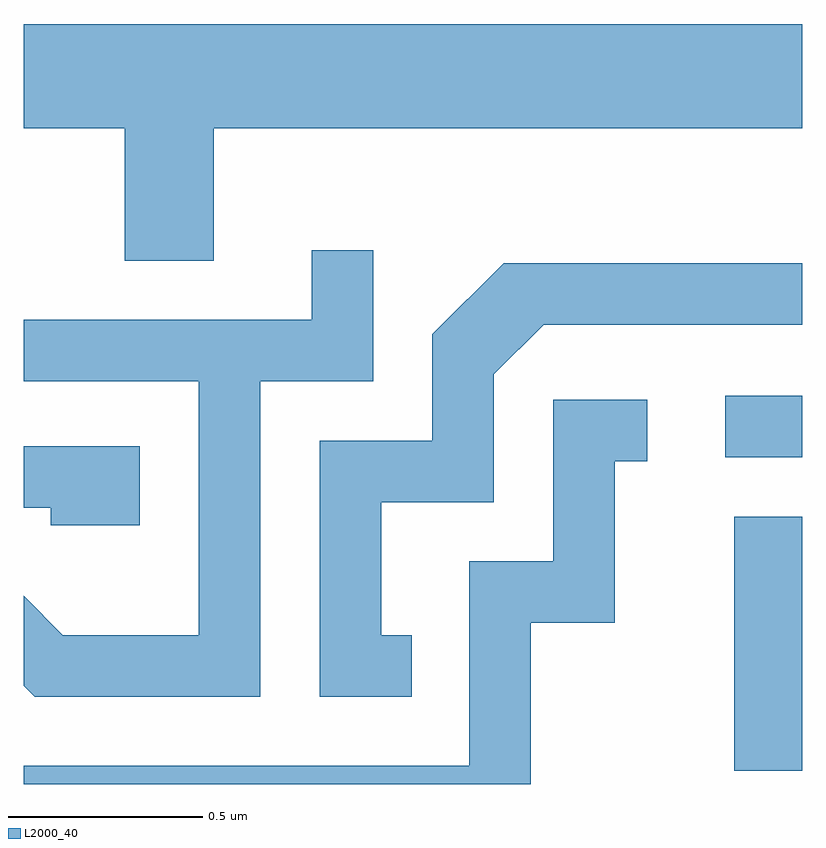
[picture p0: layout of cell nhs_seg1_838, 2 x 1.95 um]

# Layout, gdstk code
import gdstk
lib = gdstk.Library(unit=1e-6, precision=1e-09)
def R(c, l, rs):  # rectangles x0, y0, x1, y1
    for r in rs: c.add(gdstk.rectangle(r[:2], r[2:], *l))
def P(c, l, *ps):  # polygons
    for p in ps: c.add(gdstk.Polygon(p, *l))
L2000_40 = (2000, 40)

nhs_seg1_838 = lib.new_cell('nhs_seg1_838')
R(nhs_seg1_838, L2000_40, [(193.436,855.746,193.611,856.399), (193.413,856.551,193.611,856.709)])
P(nhs_seg1_838, L2000_40, [(192.099,857.396),(193.611,857.396),(193.611,857.664),(191.611,857.664),(191.611,857.396),(191.871,857.396),(191.871,857.056),(192.099,857.056)],
  [(192.219,856.746),(192.509,856.746),(192.509,857.083),(192.351,857.083),(192.351,856.904),(191.611,856.904),(191.611,856.746),(192.061,856.746),(192.061,856.094),(191.712,856.094),(191.611,856.195),(191.611,855.964),(191.639,855.936),(192.219,855.936)],
  [(192.608,856.094),(192.529,856.094),(192.529,856.436),(192.819,856.436),(192.819,856.764),(192.947,856.891),(193.611,856.891),(193.611,857.049),(192.844,857.049),(192.661,856.867),(192.661,856.594),(192.371,856.594),(192.371,855.936),(192.608,855.936)],
  [(192.914,856.126),(193.129,856.126),(193.129,856.541),(193.213,856.541),(193.213,856.699),(192.971,856.699),(192.971,856.284),(192.756,856.284),(192.756,855.759),(191.611,855.759),(191.611,855.712),(192.914,855.712)],
  [(191.909,856.579),(191.611,856.579),(191.611,856.421),(191.681,856.421),(191.681,856.376),(191.909,856.376)])

lib.write_gds('nhs_seg1_838.gds')
